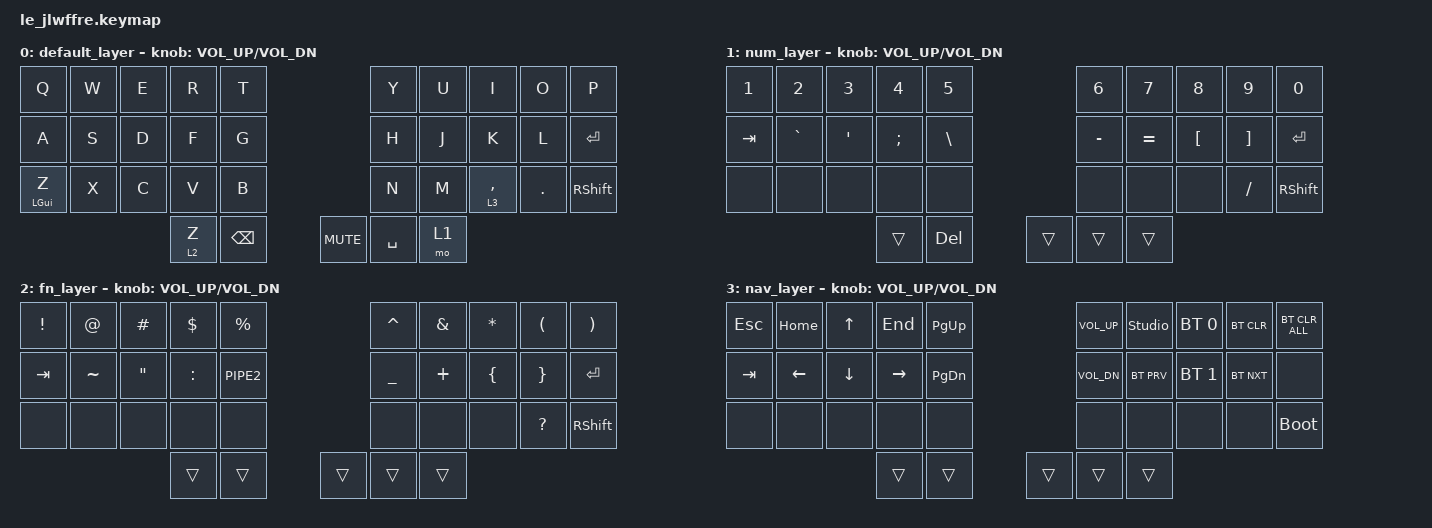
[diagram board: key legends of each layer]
/*
 * Copyright (c) 2022 The ZMK Contributors
 *
 * SPDX-License-Identifier: MIT
 */

#include <behaviors.dtsi>
#include <dt-bindings/zmk/keys.h>
#include <dt-bindings/zmk/bt.h>

/ {
    behaviors {
        ht: hold_tap {
            compatible = "zmk,behavior-hold-tap";
            #binding-cells = <2>;
            flavor = "balanced";
            tapping-term-ms = <200>;
            quick-tap-ms = <220>;
            require-prior-idle-ms = <125>;
            bindings = <&kp>, <&kp>;
        };
        mt: mod_tap {
            #binding-cells = <2>;
            tapping-term-ms = <200>;
            quick-tap-ms = <220>;
            require-prior-idle-ms = <125>;
            bindings = <&kp>, <&kp>;
        };
        as_ht: autoshift_hold_tap {
            compatible = "zmk,behavior-hold-tap";
            #binding-cells = <2>;
            tapping-term-ms = <200>;
            bindings = <&shifted>, <&kp>;
            flavor = "tap-preferred";
        };

        combos {
            compatible = "zmk,combos";
            combo_esc {
                timeout-ms = <50>;
                key-positions = <0 1>;
                bindings = <&kp ESC>;
            };
            combo_del {
                timeout-ms = <50>;
                key-positions = <8 9>;
                bindings = <&kp DEL>;
            };
            combo_reset {
                timeout-ms = <50>;
                key-positions = <0 9>;
                layers = <2>;
                bindings = <&sys_reset>;
            };
            combo_boot {
                timeout-ms = <50>;
                key-positions = <5 20>;
                layers = <2>;
                bindings = <&bootloader>;
            };
        };
    };

    macros {
        shifted: macro_shifted_kp {
            #binding-cells = <1>;
            compatible = "zmk,behavior-macro-one-param";
            bindings =
              <&macro_press &kp LSHFT>,
              <&macro_param_1to1 &macro_tap &kp MACRO_PLACEHOLDER>,
              <&macro_release &kp LSHFT>;
        };
        as: autoshift {
            compatible = "zmk,behavior-macro-one-param";
            #binding-cells = <1>;
            bindings =
              <&macro_press>,
              <&macro_param_1to1>,
              <&macro_param_1to2>,
              <&as_ht MACRO_PLACEHOLDER MACRO_PLACEHOLDER>,
              <&macro_pause_for_release>,
              <&macro_release>,
              <&macro_param_1to1>,
              <&macro_param_1to2>,
              <&as_ht MACRO_PLACEHOLDER MACRO_PLACEHOLDER>;
        };
    };

    keymap {
        compatible = "zmk,keymap";
        default_layer {
            bindings = <
        //╭──────────┬──────────┬──────────┬──────────┬──────────╮                      ╭──────────┬──────────┬──────────┬──────────┬──────────╮
        //│  Q       │  W       │  E       │  R       │  T       │                      │  Y       │  U       │  I       │  O       │   P      │
            &kp Q      &kp W      &kp E      &kp R      &kp T                             &kp Y      &kp U      &kp I      &kp O      &kp P
        //├──────────┼──────────┼──────────┼──────────┼──────────┤                      ├──────────┼──────────┼──────────┼──────────┼──────────┤
        //│  A       │  S       │  D       │  F       │  G       │                      │  H       │  J       │  K       │  L       │  Enter   │
            &kp A      &kp S      &kp D      &kp F      &kp G                             &kp H      &kp J      &kp K      &kp L      &kp ENTER 
        //├──────────┼──────────┼──────────┼──────────┼──────────┤                      ├──────────┼──────────┼──────────┼──────────┼──────────┤
        //│  GUI/Z   │  X       │  C       │  V       │  B       │                      │  N       │  M       │ , <      │ . >      │ RShift   │
           &mt LGUI Z  &kp X      &kp C      &kp V      &kp B                             &kp N      &kp M     &lt 3 COMMA &kp DOT   &kp RSHIFT
        //╰──────────┴──────────┴──────────┼──────────┼──────────┤                      ├──────────┼──────────┼──────────┴──────────┴──────────╯
                                             &lt 2 Z     &kp BSPC        &kp C_MUTE       &kp SPACE    &mo 1
        //                                 ╰──────────┴──────────╯                      ╰──────────┴──────────╯
            >;
            sensor-bindings = <&inc_dec_kp C_VOL_UP C_VOL_DN>;
        };

        num_layer {
            bindings = <
        //╭──────────┬──────────┬──────────┬──────────┬──────────╮      ╭──────────┬──────────┬──────────┬──────────┬──────────╮
        //│  1 !     │  2 @     │  3 #     │  4 $     │  5 %     │      │  6 ^     │  7 &     │  8 *     │  9 (     │  0 )     │
            &kp N1     &kp N2     &kp N3     &kp N4     &kp N5            &kp N6     &kp N7     &kp N8     &kp N9     &kp N0
        //├──────────┼──────────┼──────────┼──────────┼──────────┤      ├──────────┼──────────┼──────────┼──────────┼──────────┤
        //│  TAB     │    `     │    '     │    ;     │    \     │      │   -      │   =      │   [      │    ]     │   Enter  │
            &kp TAB   &kp GRAVE   &kp APOS   &kp SEMI   &kp BSLH         &kp MINUS   &kp EQUAL  &kp LBKT   &kp RBKT   &kp ENTER
        //├──────────┼──────────┼──────────┼──────────┼──────────┤      ├──────────┼──────────┼──────────┼──────────┼──────────┤
        //│          │          │          │          │          │      │          │          │          │    /     │  RShift  │
            &none      &none      &none      &none      &none             &none      &none      &none      &kp FSLH  &kp RSHIFT
        //╰──────────┴──────────┴──────────┼──────────┼──────────┤      ├──────────┼──────────┼──────────┴──────────┴──────────╯
                                             &trans     &kp DEL   &trans  &trans     &trans
        //                                 ╰──────────┴──────────╯      ╰──────────┴──────────╯
              >;
            sensor-bindings = <&inc_dec_kp C_VOL_UP C_VOL_DN>;
        };

        fn_layer {
            bindings = <
        //╭──────────┬──────────┬──────────┬──────────┬──────────╮      ╭──────────┬──────────┬──────────┬──────────┬──────────╮
        //│    !     │    @     │    #     │    $     │    %     │      │    ^     │    &     │    *     │    (     │    )     │
            &kp EXCL   &kp AT     &kp POUND  &kp DLLR   &kp PRCNT         &kp CARET  &kp AMPS   &kp STAR   &kp LPAR   &kp RPAR
        //├──────────┼──────────┼──────────┼──────────┼──────────┤      ├──────────┼──────────┼──────────┼──────────┼──────────┤
        //│  TAB      │  ~      │   "      │   :      │  |       │      │   _      │   +      │   {      │   }      │ ENTER    │
            &kp TAB    &kp TILDE  &kp DQT   &kp COLON  &kp PIPE2         &kp UNDER   &kp PLUS   &kp LBRC   &kp RBRC   &kp ENTER
        //├──────────┼──────────┼──────────┼──────────┼──────────┤      ├──────────┼──────────┼──────────┼──────────┼──────────┤
        //│          │          │          │          │          │      │          │          │          │   ?      │  RShift  │
            &none      &none      &none      &none      &none             &none      &none      &none      &kp QMARK &kp RSHIFT
        //╰──────────┴──────────┴──────────┼──────────┼──────────┤      ├──────────┼──────────┼──────────┴──────────┴──────────╯
                                             &trans     &trans    &trans  &trans     &trans
        //                                 ╰──────────┴──────────╯      ╰──────────┴──────────╯
            >;
            sensor-bindings = <&inc_dec_kp C_VOL_UP C_VOL_DN>;
        };

        nav_layer {
            bindings = <
        //╭──────────┬──────────┬──────────┬──────────┬──────────╮      ╭──────────┬──────────┬──────────┬──────────┬──────────╮
        //│   ESC    │  HOME    │  UP      │   END    │  PG_UP   │      │          │          │          │          │          │
            &kp ESC    &kp HOME   &kp UP     &kp END    &kp PG_UP       &kp C_VOL_UP &studio_unlock &bt BT_SEL 0 &bt BT_CLR &bt BT_CLR_ALL
        //├──────────┼──────────┼──────────┼──────────┼──────────┤      ├──────────┼──────────┼──────────┼──────────┼──────────┤
        //│  TAB     │  LEFT    │  DOWN    │  RIGHT   │  PG_DN   │      │          │          │          │          │          │
            &kp TAB    &kp LEFT   &kp DOWN  &kp RIGHT  &kp PG_DN         &kp C_VOL_DN &bt BT_PRV &bt BT_SEL 1 &bt BT_NXT &none
        //├──────────┼──────────┼──────────┼──────────┼──────────┤      ├──────────┼──────────┼──────────┼──────────┼──────────┤
        //│          │          │          │          │          │      │          │          │          │          │          │
            &none      &none      &none      &none      &none              &none      &none      &none      &none    &bootloader
        //╰──────────┴──────────┴──────────┼──────────┼──────────┤      ├──────────┼──────────┼──────────┴──────────┴──────────╯
                                             &trans     &trans    &trans  &trans     &trans
        //                                 ╰──────────┴──────────╯      ╰──────────┴──────────╯
            >;
            sensor-bindings = <&inc_dec_kp C_VOL_UP C_VOL_DN>;
        };

    };

};
